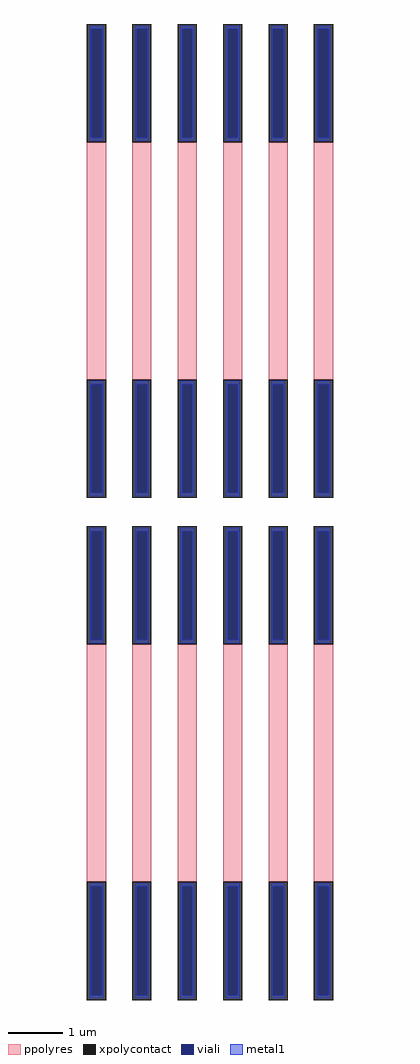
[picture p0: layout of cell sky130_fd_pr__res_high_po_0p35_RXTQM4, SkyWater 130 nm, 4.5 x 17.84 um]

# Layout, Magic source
magic
tech sky130A
magscale 1 2
<< xpolycontact >>
rect -450 1352 -380 1784
rect -450 52 -380 484
rect -284 1352 -214 1784
rect -284 52 -214 484
rect -118 1352 -48 1784
rect -118 52 -48 484
rect 48 1352 118 1784
rect 48 52 118 484
rect 214 1352 284 1784
rect 214 52 284 484
rect 380 1352 450 1784
rect 380 52 450 484
rect -450 -484 -380 -52
rect -450 -1784 -380 -1352
rect -284 -484 -214 -52
rect -284 -1784 -214 -1352
rect -118 -484 -48 -52
rect -118 -1784 -48 -1352
rect 48 -484 118 -52
rect 48 -1784 118 -1352
rect 214 -484 284 -52
rect 214 -1784 284 -1352
rect 380 -484 450 -52
rect 380 -1784 450 -1352
<< ppolyres >>
rect -450 484 -380 1352
rect -284 484 -214 1352
rect -118 484 -48 1352
rect 48 484 118 1352
rect 214 484 284 1352
rect 380 484 450 1352
rect -450 -1352 -380 -484
rect -284 -1352 -214 -484
rect -118 -1352 -48 -484
rect 48 -1352 118 -484
rect 214 -1352 284 -484
rect 380 -1352 450 -484
<< viali >>
rect -434 1369 -396 1766
rect -268 1369 -230 1766
rect -102 1369 -64 1766
rect 64 1369 102 1766
rect 230 1369 268 1766
rect 396 1369 434 1766
rect -434 70 -396 467
rect -268 70 -230 467
rect -102 70 -64 467
rect 64 70 102 467
rect 230 70 268 467
rect 396 70 434 467
rect -434 -467 -396 -70
rect -268 -467 -230 -70
rect -102 -467 -64 -70
rect 64 -467 102 -70
rect 230 -467 268 -70
rect 396 -467 434 -70
rect -434 -1766 -396 -1369
rect -268 -1766 -230 -1369
rect -102 -1766 -64 -1369
rect 64 -1766 102 -1369
rect 230 -1766 268 -1369
rect 396 -1766 434 -1369
<< metal1 >>
rect -440 1766 -390 1778
rect -440 1369 -434 1766
rect -396 1369 -390 1766
rect -440 1357 -390 1369
rect -274 1766 -224 1778
rect -274 1369 -268 1766
rect -230 1369 -224 1766
rect -274 1357 -224 1369
rect -108 1766 -58 1778
rect -108 1369 -102 1766
rect -64 1369 -58 1766
rect -108 1357 -58 1369
rect 58 1766 108 1778
rect 58 1369 64 1766
rect 102 1369 108 1766
rect 58 1357 108 1369
rect 224 1766 274 1778
rect 224 1369 230 1766
rect 268 1369 274 1766
rect 224 1357 274 1369
rect 390 1766 440 1778
rect 390 1369 396 1766
rect 434 1369 440 1766
rect 390 1357 440 1369
rect -440 467 -390 479
rect -440 70 -434 467
rect -396 70 -390 467
rect -440 58 -390 70
rect -274 467 -224 479
rect -274 70 -268 467
rect -230 70 -224 467
rect -274 58 -224 70
rect -108 467 -58 479
rect -108 70 -102 467
rect -64 70 -58 467
rect -108 58 -58 70
rect 58 467 108 479
rect 58 70 64 467
rect 102 70 108 467
rect 58 58 108 70
rect 224 467 274 479
rect 224 70 230 467
rect 268 70 274 467
rect 224 58 274 70
rect 390 467 440 479
rect 390 70 396 467
rect 434 70 440 467
rect 390 58 440 70
rect -440 -70 -390 -58
rect -440 -467 -434 -70
rect -396 -467 -390 -70
rect -440 -479 -390 -467
rect -274 -70 -224 -58
rect -274 -467 -268 -70
rect -230 -467 -224 -70
rect -274 -479 -224 -467
rect -108 -70 -58 -58
rect -108 -467 -102 -70
rect -64 -467 -58 -70
rect -108 -479 -58 -467
rect 58 -70 108 -58
rect 58 -467 64 -70
rect 102 -467 108 -70
rect 58 -479 108 -467
rect 224 -70 274 -58
rect 224 -467 230 -70
rect 268 -467 274 -70
rect 224 -479 274 -467
rect 390 -70 440 -58
rect 390 -467 396 -70
rect 434 -467 440 -70
rect 390 -479 440 -467
rect -440 -1369 -390 -1357
rect -440 -1766 -434 -1369
rect -396 -1766 -390 -1369
rect -440 -1778 -390 -1766
rect -274 -1369 -224 -1357
rect -274 -1766 -268 -1369
rect -230 -1766 -224 -1369
rect -274 -1778 -224 -1766
rect -108 -1369 -58 -1357
rect -108 -1766 -102 -1369
rect -64 -1766 -58 -1369
rect -108 -1778 -58 -1766
rect 58 -1369 108 -1357
rect 58 -1766 64 -1369
rect 102 -1766 108 -1369
rect 58 -1778 108 -1766
rect 224 -1369 274 -1357
rect 224 -1766 230 -1369
rect 268 -1766 274 -1369
rect 224 -1778 274 -1766
rect 390 -1369 440 -1357
rect 390 -1766 396 -1369
rect 434 -1766 440 -1369
rect 390 -1778 440 -1766
<< properties >>
string gencell sky130_fd_pr__res_high_po_0p35
string library sky130
string parameters w 0.350 l 4.5 m 2 nx 6 wmin 0.350 lmin 0.50 rho 319.8 val 5.224k dummy 0 dw 0.0 term 194.82 sterm 0.0 caplen 0 guard 0 glc 1 grc 1 gtc 1 gbc 1 compatible {sky130_fd_pr__res_high_po_0p35  sky130_fd_pr__res_high_po_0p69 sky130_fd_pr__res_high_po_1p41  sky130_fd_pr__res_high_po_2p85 sky130_fd_pr__res_high_po_5p73} snake 0 full_metal 1 wmax 0.350 vias 1 n_guard 0 hv_guard 0 viagb 0 viagt 0 viagl 0 viagr 0
<< end >>
